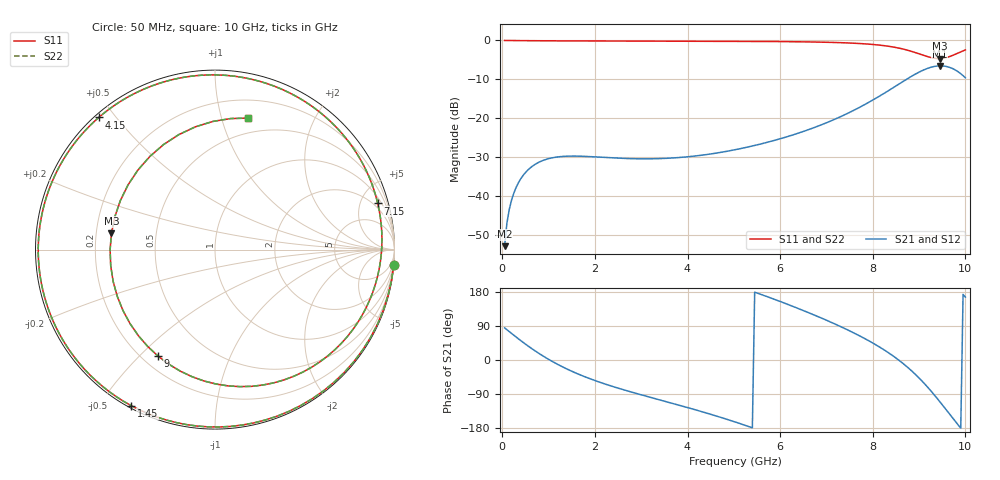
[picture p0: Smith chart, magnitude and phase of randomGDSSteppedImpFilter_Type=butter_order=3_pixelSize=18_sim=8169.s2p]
! freq	dB(S11)	phase(S11)	dB(S12)	phase(S12)
!  dB(S21)	phase(S21)	dB(S22)	phase(S22)
!S-par simulation data
#  GHz  S  DB  R 50
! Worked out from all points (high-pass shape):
!   200 points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, 50 MHz to 10 GHz, reference 50 ohm
!   highest |S21| = -6.54 dB at 9.45 GHz (marker M1); lowest = -52.9 dB at 50 MHz (marker M2)
!   |S21| within 3 dB of the highest: 8.792 GHz to 9.993 GHz (1.201 GHz wide, 12.8 % of centre)
!   lowest |S11| = -4.7 dB at 9.45 GHz (marker M3), VSWR 3.81, Z = 13.2 + j3.67 ohm
!   |S11| at or under -10 dB: nowhere
!   |S22| runs from -4.7 to 0.0 dB; largest |S21 - S12| = 0
!   S11 on the Smith chart (normalised r, x): 50 MHz: 0, -23; 1.45 GHz: 0.01, -0.60; 4.15 GHz: 0.01, +0.45; 7.15 GHz: 1.49, +6.88; 9 GHz: 0.26, -0.57; 10 GHz: 0.36, +1.22
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0.05  -0.01 -5.0  -52.87 84.7  -52.87 84.7  -0.01 -5.0
0.1  -0.01 -10.0  -46.91 79.8  -46.91 79.8  -0.01 -10.0
0.2  -0.03 -19.8  -41.04 70.1  -41.04 70.1  -0.03 -19.8
0.45  -0.06 -43.5  -34.68 46.4  -34.68 46.4  -0.06 -43.5
0.9  -0.09 -81.3  -30.75 9.0  -30.75 9.0  -0.09 -81.3
1.45  -0.11 -118.2  -29.73 -26.9  -29.73 -26.9  -0.11 -118.2
1.75  -0.12 -134.7  -29.78 -42.6  -29.78 -42.6  -0.12 -134.7
2.5  -0.13 -168.9  -30.26 -74.3  -30.26 -74.3  -0.13 -168.9
3.4  -0.15 157.3  -30.36 -105.3  -30.36 -105.3  -0.15 157.4
4.15  -0.17 131.3  -29.72 -130.7  -29.72 -130.7  -0.17 131.4
5.05  -0.22 100.1  -28.03 -164.4  -28.03 -164.4  -0.22 100.2
5.9  -0.28 68.8  -25.61 159.1  -25.61 159.1  -0.28 68.8
6.7  -0.39 36.2  -22.55 120.5  -22.55 120.5  -0.40 36.2
7.15  -0.51 15.8  -20.41 96.9  -20.41 96.9  -0.51 15.8
7.8  -0.85 -18.0  -16.65 58.3  -16.65 58.3  -0.85 -18.0
8.35  -1.51 -54.2  -12.83 18.2  -12.83 18.2  -1.51 -54.2
8.7  -2.35 -84.5  -10.21 -13.8  -10.21 -13.8  -2.35 -84.4
9  -3.44 -118.2  -8.14 -47.5  -8.14 -47.5  -3.44 -118.2
9.25  -4.38 -154.4  -6.92 -80.8  -6.92 -80.8  -4.38 -154.3
9.45  -4.67 171.0  -6.54 -110.3  -6.54 -110.3  -4.67 171.1
9.75  -3.72 116.0  -7.38 -157.0  -7.38 -157.0  -3.72 116.2
10  -2.43 75.7  -9.62 166.0  -9.62 166.0  -2.44 75.9
